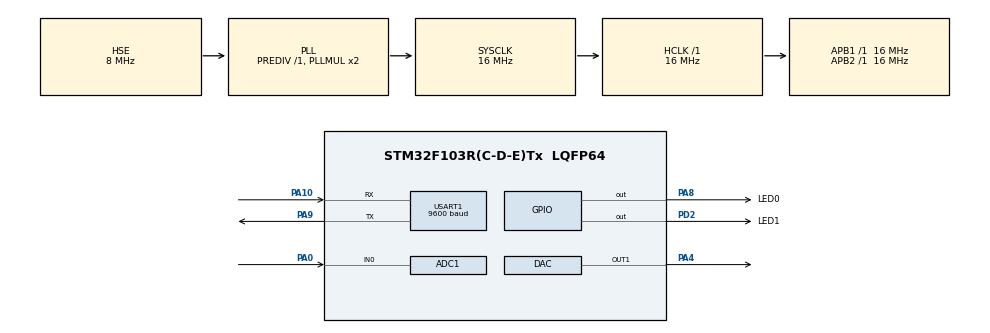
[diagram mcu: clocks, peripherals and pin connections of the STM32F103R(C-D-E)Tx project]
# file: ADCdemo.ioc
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ADC1.Channel-1\#ChannelRegularConversion=ADC_CHANNEL_0
ADC1.NbrOfConversionFlag=1
ADC1.Rank-1\#ChannelRegularConversion=1
ADC1.SamplingTime-1\#ChannelRegularConversion=ADC_SAMPLETIME_1CYCLE_5
ADC1.master=1
Mcu.Family=STM32F1
Mcu.Name=STM32F103R(C-D-E)Tx
Mcu.Package=LQFP64
NVIC.PriorityGroup=NVIC_PRIORITYGROUP_4
PA0-WKUP.Signal=ADCx_IN0
PA10.Mode=Asynchronous
PA10.Signal=USART1_RX
PA4.Signal=COMP_DAC1_group
PA8.GPIO_Label=LED0
PA8.Signal=GPIO_Output
PA9.Mode=Asynchronous
PA9.Signal=USART1_TX
PC14-OSC32_IN.Mode=LSE-External-Oscillator
PC14-OSC32_IN.Signal=RCC_OSC32_IN
PC15-OSC32_OUT.Mode=LSE-External-Oscillator
PC15-OSC32_OUT.Signal=RCC_OSC32_OUT
PD0-OSC_IN.Mode=HSE-External-Oscillator
PD0-OSC_IN.Signal=RCC_OSC_IN
PD1-OSC_OUT.Mode=HSE-External-Oscillator
PD1-OSC_OUT.Signal=RCC_OSC_OUT
PD2.GPIO_Label=LED1
PD2.Signal=GPIO_Output
ProjectManager.HeapSize=0x200
ProjectManager.StackSize=0x400
ProjectManager.TargetToolchain=MDK-ARM V5.27
RCC.AHBFreq_Value=16000000
RCC.APB1Freq_Value=16000000
RCC.APB1TimFreq_Value=16000000
RCC.APB2Freq_Value=16000000
RCC.APB2TimFreq_Value=16000000
RCC.HCLKFreq_Value=16000000
RCC.PLLSourceVirtual=RCC_PLLSOURCE_HSE
RCC.SYSCLKFreq_VALUE=16000000
RCC.SYSCLKSource=RCC_SYSCLKSOURCE_PLLCLK
RCC.USBFreq_Value=16000000
SH.ADCx_IN0.0=ADC1_IN0,IN0
SH.COMP_DAC1_group.0=DAC_OUT1,DAC_OUT1
USART1.BaudRate=9600
USART1.VirtualMode=VM_ASYNC
VP_SYS_VS_ND.Mode=No_Debug
board=custom

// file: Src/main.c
/* USER CODE BEGIN Header */
/**
  ******************************************************************************
  * @file           : main.c
  * @brief          : Main program body
  ******************************************************************************
  * @attention
  *
  * <h2><center>&copy; Copyright (c) 2020 STMicroelectronics.
  * All rights reserved.</center></h2>
  *
  * This software component is licensed by ST under BSD 3-Clause license,
  * the "License"; You may not use this file except in compliance with the
  * License. You may obtain a copy of the License at:
  *                        opensource.org/licenses/BSD-3-Clause
  *
  ******************************************************************************
  */
/* USER CODE END Header */

#include "main.h"
#include "adc.h"
#include "dac.h"
#include "usart.h"
#include "gpio.h"

/* USER CODE BEGIN Includes */
#include "stdio.h"
/* USER CODE END Includes */

/* USER CODE BEGIN PD */
#define LED1_ON   HAL_GPIO_WritePin(LED1_GPIO_Port, LED1_Pin, GPIO_PIN_RESET);
#define LED1_OFF  HAL_GPIO_WritePin(LED1_GPIO_Port, LED1_Pin, GPIO_PIN_SET);
/* USER CODE END PD */

/* USER CODE BEGIN PV */
uint16_t ADC_Value = 0 , ADC_Volt = 0 ;
uint8_t str_buff[64];
/* USER CODE END PV */

void SystemClock_Config(void);
/* USER CODE BEGIN PFP */

void UR_Send_Info(){
  sprintf((char*)str_buff, "采样值：%d, 电压值：%d.%d%dV\r\n", ADC_Value, ADC_Volt/1000, (ADC_Volt%1000/100), ADC_Volt%100);
  HAL_UART_Transmit(&huart1, str_buff, sizeof(str_buff), 10000);
}

 void ADC0_Get_Value(){
   HAL_ADC_Start(&hadc1);
   LED1_ON
   if( HAL_ADC_PollForConversion(&hadc1, 10) == HAL_OK ){
       ADC_Value = HAL_ADC_GetValue(&hadc1);
       ADC_Volt = ADC_Value * 3300 / 4096 ;    //单位ms
       UR_Send_Info();
       LED1_OFF
   }
   HAL_ADC_Stop(&hadc1);
 }
/*
void HAL_ADC_ConvCpltCallback(ADC_HandleTypeDef* hadc){
  if(hadc -> Instance == ADC1 ){
      ADC_Value = HAL_ADC_GetValue(&hadc1);
      ADC_Volt = ADC_Value * 3300 / 4096 ;    //单位ms
      UR_Send_Info();
      LED1_OFF
  }
  HAL_ADC_Stop(&hadc1);
}*/

/* USER CODE END PFP */

int main(void)
{
  /* USER CODE BEGIN 1 */
  int i = 0 ;
  /* USER CODE END 1 */

  /* MCU Configuration--------------------------------------------------------*/

  /* Reset of all peripherals, Initializes the Flash interface and the Systick. */
  HAL_Init();

  /* Configure the system clock */
  SystemClock_Config();

  /* Initialize all configured peripherals */
  MX_GPIO_Init();
  MX_ADC1_Init();
  MX_USART1_UART_Init();
  MX_DAC_Init();
  /* USER CODE BEGIN 2 */
	HAL_DAC_Start(&hdac, DAC_CHANNEL_1);
  /* USER CODE END 2 */

  /* Infinite loop */
  /* USER CODE BEGIN WHILE */
  while (1)
  {
		HAL_DAC_SetValue(&hdac, DAC_CHANNEL_1, DAC_ALIGN_12B_R, (i++)%4000);
    HAL_Delay(500);
		ADC0_Get_Value();
    /* USER CODE END WHILE */

  }
}

void SystemClock_Config(void)
{
  RCC_OscInitTypeDef RCC_OscInitStruct = {0};
  RCC_ClkInitTypeDef RCC_ClkInitStruct = {0};
  RCC_PeriphCLKInitTypeDef PeriphClkInit = {0};

  /** Initializes the CPU, AHB and APB busses clocks
  */
  RCC_OscInitStruct.OscillatorType = RCC_OSCILLATORTYPE_HSE;
  RCC_OscInitStruct.HSEState = RCC_HSE_ON;
  RCC_OscInitStruct.HSEPredivValue = RCC_HSE_PREDIV_DIV1;
  RCC_OscInitStruct.HSIState = RCC_HSI_ON;
  RCC_OscInitStruct.PLL.PLLState = RCC_PLL_ON;
  RCC_OscInitStruct.PLL.PLLSource = RCC_PLLSOURCE_HSE;
  RCC_OscInitStruct.PLL.PLLMUL = RCC_PLL_MUL2;
  if (HAL_RCC_OscConfig(&RCC_OscInitStruct) != HAL_OK)
  {
    Error_Handler();
  }
  /** Initializes the CPU, AHB and APB busses clocks
  */
  RCC_ClkInitStruct.ClockType = RCC_CLOCKTYPE_HCLK|RCC_CLOCKTYPE_SYSCLK
                              |RCC_CLOCKTYPE_PCLK1|RCC_CLOCKTYPE_PCLK2;
  RCC_ClkInitStruct.SYSCLKSource = RCC_SYSCLKSOURCE_PLLCLK;
  RCC_ClkInitStruct.AHBCLKDivider = RCC_SYSCLK_DIV1;
  RCC_ClkInitStruct.APB1CLKDivider = RCC_HCLK_DIV1;
  RCC_ClkInitStruct.APB2CLKDivider = RCC_HCLK_DIV1;

  if (HAL_RCC_ClockConfig(&RCC_ClkInitStruct, FLASH_LATENCY_0) != HAL_OK)
  {
    Error_Handler();
  }
  PeriphClkInit.PeriphClockSelection = RCC_PERIPHCLK_ADC;
  PeriphClkInit.AdcClockSelection = RCC_ADCPCLK2_DIV2;
  if (HAL_RCCEx_PeriphCLKConfig(&PeriphClkInit) != HAL_OK)
  {
    Error_Handler();
  }
}

void Error_Handler(void)
{
}

/************************ (C) COPYRIGHT STMicroelectronics *****END OF FILE****/
